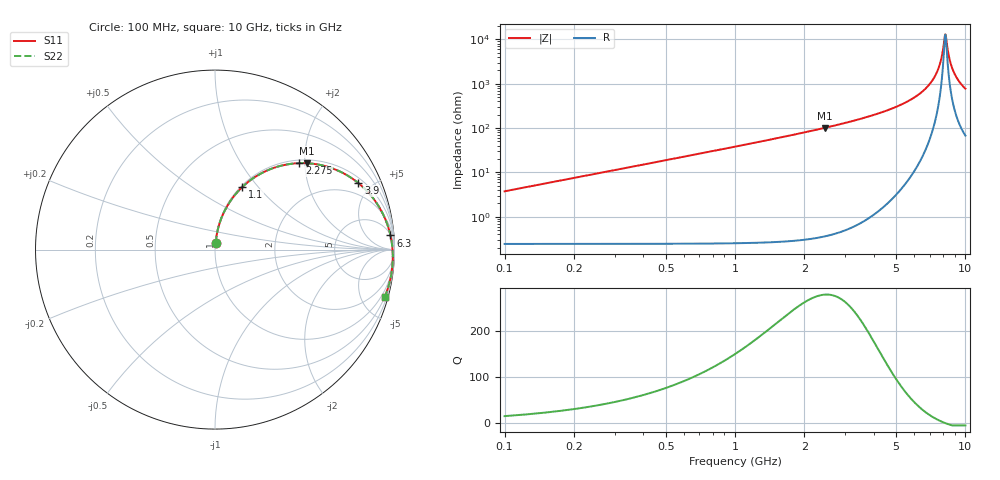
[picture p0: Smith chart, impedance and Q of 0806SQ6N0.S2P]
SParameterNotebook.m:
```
%% S Parameter Notebook

% Test code
orig_data = read(rfdata.data,'0806SQ6N0.S2P');
freq = orig_data.Freq;
data = orig_data.S_Parameters(1,1,:);
fit = rationalfit(freq,data);

generateSPICE(fit,'passive.ckt')
```
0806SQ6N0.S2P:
! Coilcraft 0806SQ-6N0 Air Core Inductor
! 04 March 2008
# MHZ S MA R 50
!Freq  MagS11  AngS11  MagS21  AngS21  MagS12  AngS12  MagS22  AngS22
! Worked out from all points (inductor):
!   397 points, 100 MHz to 10 GHz, reference 50 ohm
!   read as one part in series: L = 5.98 nH near 125 MHz
!   highest Q = 280 at 2.45 GHz (marker M1), where L = 6.57 nH
!   self-resonance near 8.175 GHz
!   S11 on the Smith chart (normalised r, x): 100 MHz: 1.00, +0.07; 1.1 GHz: 1.02, +0.83; 2.275 GHz: 1.07, +1.87; 3.9 GHz: 1.26, +4.16; 6.3 GHz: 6, +23; 10 GHz: 0.50, -7.22
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100  0.03685 84.0  0.9969 -2.2  0.9969 -2.2  0.03686 84.0
1100  0.3812 66.4  0.9221 -23.3  0.9221 -23.3  0.3812 66.4
2275  0.6723 45.8  0.7377 -44.0  0.7377 -44.0  0.6725 45.8
2450  0.7041 43.1  0.7075 -46.7  0.7075 -46.7  0.7042 43.1
3900  0.8802 24.9  0.4697 -64.8  0.4697 -64.8  0.8803 24.9
5050  0.9469 14.1  0.3112 -75.3  0.3112 -75.3  0.947 14.1
6300  0.9807 4.6  0.169 -83.7  0.169 -83.7  0.9809 4.6
7575  0.992 -3.4  0.05016 -85.8  0.05016 -85.8  0.9922 -3.4
8175  0.9923 -6.7  0.007664 -13.9  0.007664 -13.9  0.9925 -6.7
8800  0.9902 -10.0  0.0464 69.3  0.0464 69.3  0.9904 -10.0
10000  0.9813 -15.7  0.1249 69.3  0.1249 69.3  0.9815 -15.7
